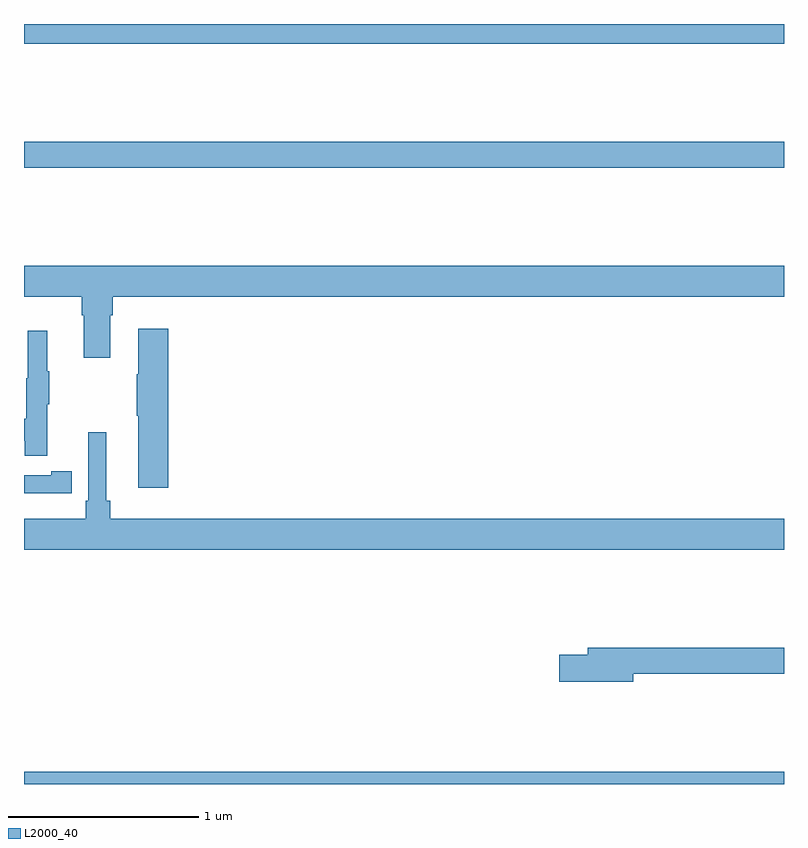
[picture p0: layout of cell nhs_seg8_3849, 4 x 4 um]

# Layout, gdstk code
import gdstk
lib = gdstk.Library(unit=1e-6, precision=1e-09)
def R(c, l, rs):  # rectangles x0, y0, x1, y1
    for r in rs: c.add(gdstk.rectangle(r[:2], r[2:], *l))
def P(c, l, *ps):  # polygons
    for p in ps: c.add(gdstk.Polygon(p, *l))
L2000_40 = (2000, 40)

nhs_seg8_3849 = lib.new_cell('nhs_seg8_3849')
R(nhs_seg8_3849, L2000_40, [(347,1149.9,351,1149.964), (347,1153.144,351,1153.28), (347,1153.796,351,1153.9)])
P(nhs_seg8_3849, L2000_40, [(347.455,1152.368),(347.468,1152.368),(347.468,1152.464),(351,1152.464),(351,1152.628),(347,1152.628),(347,1152.464),(347.303,1152.464),(347.303,1152.368),(347.315,1152.368),(347.315,1152.144),(347.455,1152.144)],
  [(347.759,1152.295),(347.6,1152.295),(347.6,1152.056),(347.593,1152.056),(347.593,1151.839),(347.6,1151.839),(347.6,1151.46),(347.759,1151.46)],
  [(347.123,1151.899),(347.134,1151.899),(347.134,1152.073),(347.123,1152.073),(347.123,1152.286),(347.02,1152.286),(347.02,1152.036),(347.013,1152.036),(347.013,1151.822),(347,1151.822),(347,1151.706),(347.005,1151.706),(347.005,1151.628),(347.123,1151.628)],
  [(351,1151.296),(347.453,1151.296),(347.453,1151.392),(347.434,1151.392),(347.434,1151.752),(347.337,1151.752),(347.337,1151.392),(347.324,1151.392),(347.324,1151.296),(347,1151.296),(347,1151.132),(351,1151.132)],
  [(347.144,1151.43),(347.252,1151.43),(347.252,1151.546),(347.144,1151.546),(347.144,1151.526),(347,1151.526),(347,1151.429),(347.144,1151.429)],
  [(350.206,1150.48),(351,1150.48),(351,1150.616),(349.967,1150.616),(349.967,1150.58),(349.818,1150.58),(349.818,1150.438),(350.206,1150.438)])

lib.write_gds('nhs_seg8_3849.gds')
